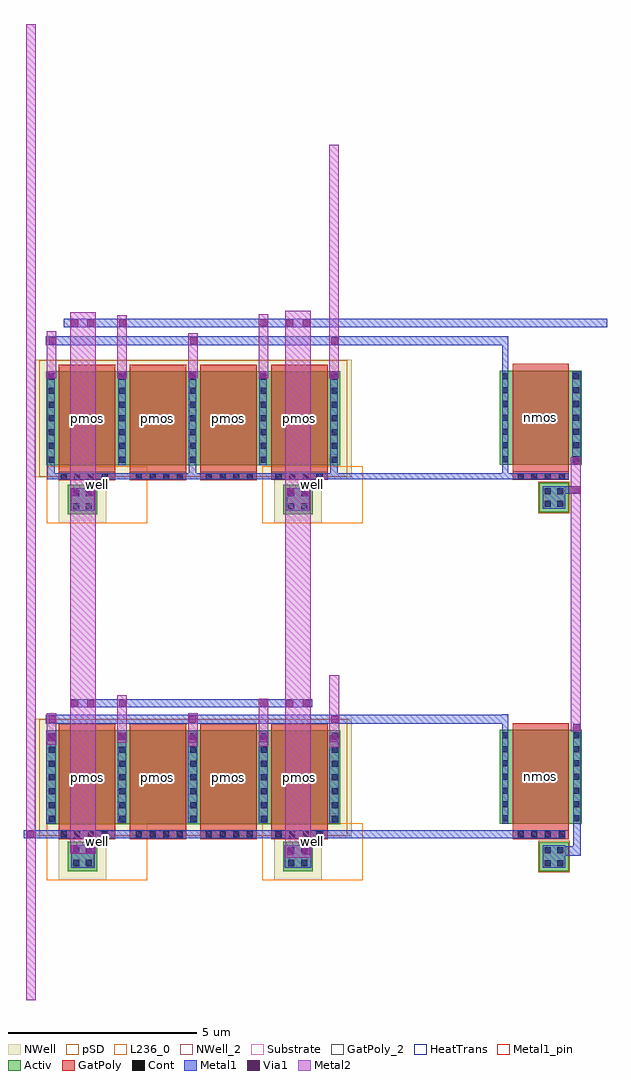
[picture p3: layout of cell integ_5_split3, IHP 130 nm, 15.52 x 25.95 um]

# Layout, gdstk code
from math import pi, radians
import gdstk
lib = gdstk.Library(unit=1e-6, precision=1e-09)
def R(c, l, rs):  # rectangles x0, y0, x1, y1
    for r in rs: c.add(gdstk.rectangle(r[:2], r[2:], *l))
def A(c, l, x, y, w, h, nx, ny, dx, dy):  # array of equal rectangles
    R(c, l, [(x+i*dx, y+j*dy, x+i*dx+w, y+j*dy+h) for i in range(nx) for j in range(ny)])
def P(c, l, *ps):  # polygons
    for p in ps: c.add(gdstk.Polygon(p, *l))
Activ = (1, 0)
GatPoly = (5, 0)
GatPoly_2 = (5, 2)
Cont = (6, 0)
Metal1 = (8, 0)
Metal1_pin = (8, 2)
Metal2 = (10, 0)
pSD = (14, 0)
Via1 = (19, 0)
NWell = (31, 0)
NWell_2 = (31, 2)
Substrate = (40, 0)
HeatTrans = (51, 0)
L236_0 = (236, 0)

ptap = lib.new_cell('ptap')
R(ptap, Activ, [(0,0,0.78,0.78)])
R(ptap, Cont, [(0.14,0.14,0.3,0.3), (0.48,0.14,0.64,0.3), (0.14,0.48,0.3,0.64), (0.48,0.48,0.64,0.64)])
R(ptap, Metal1, [(0.09,0.09,0.69,0.69)])
R(ptap, Metal1_pin, [(0.09,0.09,0.69,0.69)])
R(ptap, pSD, [(-0.03,-0.03,0.81,0.81)])

integ_5_split3 = lib.new_cell('integ_5_split3')
A(integ_5_split3, Activ, 0.029, 0.01, 0.3, 0.3, 5, 2, 1.88, 9.546)
R(integ_5_split3, Activ, [(0.605,-1.235,1.385,-0.455), (6.331,-1.235,7.111,-0.455), (0.029,0.01,7.849,2.51), (12.087,0.026,14.267,2.526), (12.087,0.026,12.387,0.326), (13.967,0.026,14.267,0.326), (0.605,8.255,1.385,9.035), (6.331,8.255,7.111,9.035), (0.029,9.556,7.849,12.056), (12.087,9.572,14.267,12.072), (12.087,9.572,12.387,9.872), (13.967,9.572,14.267,9.872)])
R(integ_5_split3, GatPoly, [(2.249,-0.385,3.749,2.69), (4.129,-0.382,5.629,2.69), (0.369,-0.38,1.869,2.69), (6.009,-0.379,7.509,2.69), (12.427,-0.378,13.927,2.706), (0.369,-0.17,1.869,2.69), (2.249,9.161,3.749,12.236), (4.129,9.164,5.629,12.236), (0.369,9.166,1.869,12.236), (6.009,9.167,7.509,12.236), (12.427,9.168,13.927,12.252), (0.369,9.376,1.869,12.236)])
R(integ_5_split3, GatPoly_2, [(12.427,-0.154,13.927,2.706), (12.427,9.392,13.927,12.252)])
A(integ_5_split3, Cont, 0.099, 0.08, 0.16, 0.16, 5, 3, 1.88, 0.365)
A(integ_5_split3, Cont, 12.157, 0.096, 0.16, 0.16, 1, 3, 0, 0.365)
A(integ_5_split3, Cont, 14.037, 0.096, 0.16, 0.16, 1, 3, 0, 0.365)
A(integ_5_split3, Cont, 0.099, 1.18, 0.16, 0.16, 5, 3, 1.88, 0.365)
A(integ_5_split3, Cont, 12.157, 1.196, 0.16, 0.16, 1, 3, 0, 0.365)
A(integ_5_split3, Cont, 14.037, 1.196, 0.16, 0.16, 1, 3, 0, 0.365)
A(integ_5_split3, Cont, 0.099, 2.28, 0.16, 0.16, 5, 2, 1.88, 7.346)
A(integ_5_split3, Cont, 12.157, 9.642, 0.16, 0.16, 1, 3, 0, 0.365)
A(integ_5_split3, Cont, 14.037, 9.642, 0.16, 0.16, 1, 3, 0, 0.365)
A(integ_5_split3, Cont, 0.099, 9.991, 0.16, 0.16, 5, 2, 1.88, 0.365)
A(integ_5_split3, Cont, 0.099, 10.726, 0.16, 0.16, 5, 3, 1.88, 0.365)
A(integ_5_split3, Cont, 12.157, 10.742, 0.16, 0.16, 1, 3, 0, 0.365)
A(integ_5_split3, Cont, 14.037, 10.742, 0.16, 0.16, 1, 3, 0, 0.365)
A(integ_5_split3, Cont, 0.099, 11.826, 0.16, 0.16, 5, 1, 1.88, 0)
R(integ_5_split3, Cont, [(0.745,-1.095,0.905,-0.935), (1.085,-1.095,1.245,-0.935), (6.471,-1.095,6.631,-0.935), (6.811,-1.095,6.971,-0.935), (0.745,-0.755,0.905,-0.595), (1.085,-0.755,1.245,-0.595), (6.471,-0.755,6.631,-0.595), (6.811,-0.755,6.971,-0.595), (12.562,-0.337,12.722,-0.177), (12.927,-0.337,13.087,-0.177), (13.287,-0.337,13.447,-0.177), (13.652,-0.337,13.812,-0.177), (0.413,-0.335,0.573,-0.175), (0.778,-0.335,0.938,-0.175), (1.138,-0.335,1.298,-0.175), (1.503,-0.335,1.663,-0.175), (2.414,-0.335,2.574,-0.175), (2.779,-0.335,2.939,-0.175), (3.139,-0.335,3.299,-0.175), (3.504,-0.335,3.664,-0.175), (4.275,-0.335,4.435,-0.175), (4.64,-0.335,4.8,-0.175), (5,-0.335,5.16,-0.175), (5.365,-0.335,5.525,-0.175), (6.126,-0.335,6.286,-0.175), (6.491,-0.335,6.651,-0.175), (6.851,-0.335,7.011,-0.175), (7.216,-0.335,7.376,-0.175), (12.157,2.296,12.317,2.456), (14.037,2.296,14.197,2.456), (0.745,8.395,0.905,8.555), (1.085,8.395,1.245,8.555), (6.471,8.395,6.631,8.555), (6.811,8.395,6.971,8.555), (0.745,8.735,0.905,8.895), (1.085,8.735,1.245,8.895), (6.471,8.735,6.631,8.895), (6.811,8.735,6.971,8.895), (12.562,9.186,12.722,9.346), (12.927,9.186,13.087,9.346), (13.287,9.186,13.447,9.346), (13.652,9.186,13.812,9.346), (0.413,9.188,0.573,9.348), (0.778,9.188,0.938,9.348), (1.138,9.188,1.298,9.348), (1.503,9.188,1.663,9.348), (2.414,9.188,2.574,9.348), (2.779,9.188,2.939,9.348), (3.139,9.188,3.299,9.348), (3.504,9.188,3.664,9.348), (4.275,9.188,4.435,9.348), (4.64,9.188,4.8,9.348), (5,9.188,5.16,9.348), (5.365,9.188,5.525,9.348), (6.126,9.188,6.286,9.348), (6.491,9.188,6.651,9.348), (6.851,9.188,7.011,9.348), (7.216,9.188,7.376,9.348), (12.157,11.842,12.317,12.002), (14.037,11.842,14.197,12.002)])
R(integ_5_split3, Metal1, [(0.695,-1.145,1.317,-0.545), (6.371,-1.145,7.081,-0.545), (-0.572,-0.359,13.826,-0.14), (0.027,0.041,0.28,2.51), (12.157,0.048,12.317,2.941), (1.931,0.058,2.156,2.51), (3.79,0.06,4.041,2.483), (7.558,0.06,7.811,2.456), (5.677,0.061,5.919,2.492), (0.021,2.69,12.317,2.925), (0.67,3.12,7.099,3.336), (0.695,8.345,1.317,8.945), (6.421,8.345,7.041,8.945), (13.827,8.798,14.246,9.004), (0.103,9.186,13.919,9.348), (0.062,9.188,0.259,12.056), (7.582,9.189,7.779,12.056), (12.157,9.196,12.317,12.934), (3.82,9.207,4.019,12.056), (0.062,9.556,0.259,12.056), (1.942,9.556,2.139,12.056), (5.699,9.556,5.899,12.056), (14.015,9.572,14.238,12.043), (0.021,12.753,12.318,12.987), (0.498,13.221,14.951,13.46)])
P(integ_5_split3, Metal1, [(13.811,-0.819),(13.811,-0.565),(14.037,-0.565),(14.037,2.683),(14.237,2.683),(14.237,-0.819)])
R(integ_5_split3, Metal1_pin, [(0.695,-1.145,1.295,-0.545), (6.371,-1.145,7.081,-0.545), (14.037,0.026,14.237,2.526), (12.157,0.048,12.317,2.526), (0.695,8.345,1.295,8.945), (6.421,8.345,7.021,8.945), (12.157,9.572,12.317,12.072), (14.015,9.572,14.238,12.043)])
R(integ_5_split3, Metal2, [(-0.503,-4.657,-0.254,21.289), (6.39,-0.881,7.06,13.668), (0.671,-0.769,1.342,13.626), (7.561,2.059,7.819,3.975), (3.807,2.087,4.055,2.964), (5.687,2.089,5.935,3.349), (0.044,2.127,0.292,2.968), (1.924,2.179,2.172,3.444), (13.981,2.494,14.242,9.774), (1.924,11.86,2.172,13.547), (7.561,11.862,7.81,18.081), (3.807,11.866,4.055,13.069), (5.687,11.866,5.935,13.57), (0.044,11.871,0.292,13.122)])
R(integ_5_split3, pSD, [(-0.151,-0.29,8.029,2.81), (-0.151,9.256,8.029,12.356)])
R(integ_5_split3, Via1, [(6.422,-0.804,6.612,-0.614), (6.847,-0.798,7.037,-0.608), (0.698,-0.75,0.888,-0.56), (1.12,-0.75,1.31,-0.56), (-0.474,-0.343,-0.284,-0.153), (3.823,2.177,4.013,2.367), (5.701,2.189,5.891,2.379), (7.584,2.19,7.774,2.38), (0.065,2.226,0.255,2.416), (1.945,2.252,2.135,2.442), (14.041,2.49,14.231,2.68), (7.609,2.711,7.799,2.901), (0.092,2.713,0.282,2.903), (3.835,2.715,4.025,2.905), (1.117,3.129,1.307,3.319), (6.412,3.13,6.602,3.32), (5.718,3.133,5.908,3.323), (0.695,3.134,0.885,3.324), (1.972,3.134,2.162,3.324), (6.845,3.135,7.035,3.325), (0.698,8.74,0.888,8.93), (1.12,8.74,1.31,8.93), (6.422,8.746,6.612,8.936), (6.847,8.746,7.037,8.936), (14.02,8.808,14.21,8.998), (14.045,9.579,14.235,9.769), (3.823,11.861,4.013,12.051), (7.585,11.861,7.775,12.051), (0.065,11.862,0.255,12.052), (1.946,11.863,2.136,12.053), (5.706,11.863,5.896,12.053), (3.855,12.774,4.045,12.964), (0.092,12.775,0.282,12.965), (7.609,12.776,7.799,12.966), (6.412,13.241,6.602,13.431), (1.972,13.242,2.162,13.432), (1.117,13.244,1.307,13.434), (0.695,13.245,0.885,13.435), (6.845,13.246,7.035,13.436), (5.718,13.248,5.908,13.438)])
R(integ_5_split3, NWell, [(0.365,-1.475,1.625,-0.215), (6.091,-1.475,7.351,-0.215), (-0.281,-0.3,8.159,2.82), (0.365,8.015,1.625,9.275), (6.091,8.015,7.351,9.275), (-0.281,9.246,8.159,12.366)])
R(integ_5_split3, NWell_2, [(0.605,-1.235,1.385,-0.455), (6.331,-1.235,7.111,-0.455)])
R(integ_5_split3, Substrate, [(7.549,0.01,7.849,0.31), (7.549,9.556,7.849,9.856)])
A(integ_5_split3, HeatTrans, 0.369, -0.17, 1.5, 2.86, 4, 2, 1.88, 9.546)
R(integ_5_split3, HeatTrans, [(12.427,-0.154,13.927,2.706), (12.427,9.392,13.927,12.252)])
R(integ_5_split3, L236_0, [(0.051,-1.475,2.719,0.045), (5.777,-1.475,8.445,0.045), (0.051,8.015,2.719,9.535), (5.777,8.015,8.445,9.535)])
integ_5_split3.add(gdstk.Reference(ptap, (13.922,-0.457), rotation=pi))
integ_5_split3.add(gdstk.Reference(ptap, (13.922,9.094), rotation=pi))
integ_5_split3.add(gdstk.Label('nmos', (13.177,1.276), layer=51, texttype=0))
integ_5_split3.add(gdstk.Label('nmos', (13.177,10.822), layer=51, texttype=0))
integ_5_split3.add(gdstk.Label('pmos', (1.119,1.26), layer=51, texttype=0))
integ_5_split3.add(gdstk.Label('pmos', (2.999,1.26), layer=51, texttype=0))
integ_5_split3.add(gdstk.Label('pmos', (4.879,1.26), layer=51, texttype=0))
integ_5_split3.add(gdstk.Label('pmos', (6.759,1.26), layer=51, texttype=0))
integ_5_split3.add(gdstk.Label('pmos', (1.119,10.806), layer=51, texttype=0))
integ_5_split3.add(gdstk.Label('pmos', (2.999,10.806), layer=51, texttype=0))
integ_5_split3.add(gdstk.Label('pmos', (4.879,10.806), layer=51, texttype=0))
integ_5_split3.add(gdstk.Label('pmos', (6.759,10.806), layer=51, texttype=0))
integ_5_split3.add(gdstk.Label('pmos', (1.119,1.26), layer=63, texttype=0))
integ_5_split3.add(gdstk.Label('pmos', (1.119,10.806), layer=63, texttype=0))
integ_5_split3.add(gdstk.Label('well', (1.385,-0.455), layer=63, texttype=0))
integ_5_split3.add(gdstk.Label('well', (7.111,-0.455), layer=63, texttype=0))
integ_5_split3.add(gdstk.Label('well', (1.385,9.035), layer=63, texttype=0))
integ_5_split3.add(gdstk.Label('well', (7.111,9.035), layer=63, texttype=0))
integ_5_split3.add(gdstk.Label('[@instanceName]', (1.385,-0.715), layer=236, texttype=1))
integ_5_split3.add(gdstk.Label('[@instanceName]', (7.111,-0.715), layer=236, texttype=1))
integ_5_split3.add(gdstk.Label('[@instanceName]', (1.385,8.775), layer=236, texttype=1))
integ_5_split3.add(gdstk.Label('[@instanceName]', (7.111,8.775), layer=236, texttype=1))

lib.write_gds('integ_5_split3.gds')
